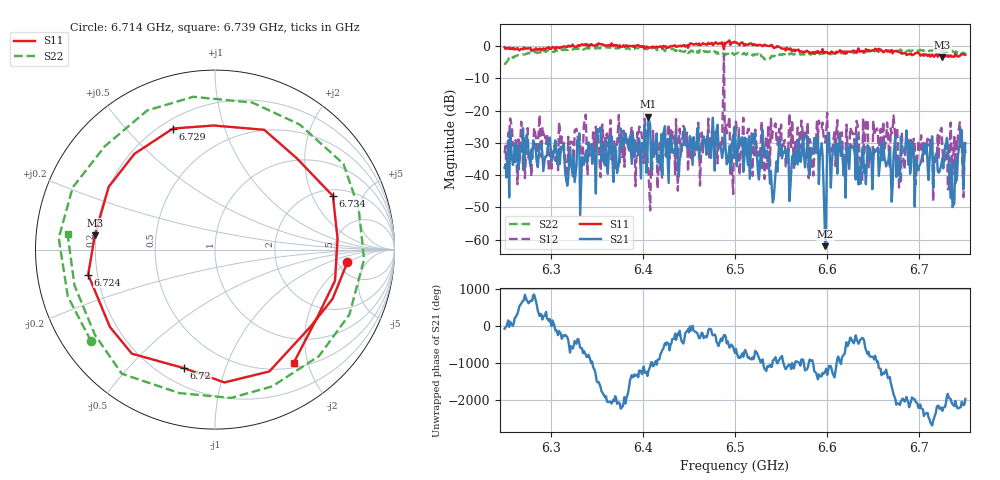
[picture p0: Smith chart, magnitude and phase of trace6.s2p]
# Hz S RI R 50
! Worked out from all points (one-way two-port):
!   401 points, 6.25 GHz to 6.75 GHz, reference 50 ohm
!   highest |S21| = -21.88 dB at 6.406 GHz (marker M1); lowest = -62.1 dB at 6.598 GHz (marker M2)
!   lowest |S11| = -3.4 dB at 6.725 GHz (marker M3), VSWR 5.14, Z = 9.76 + j2.83 ohm
!   |S11| at or under -10 dB: nowhere
!   |S22| runs from -5.8 to 0.0 dB; largest |S21 - S12| = 0.75
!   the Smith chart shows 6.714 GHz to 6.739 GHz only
!   S11 on the Smith chart (normalised r, x): 6.714 GHz: 6.13, -1.89; 6.72 GHz: 0.29, -0.73; 6.724 GHz: 0.16, -0.09; 6.729 GHz: 0.25, +0.68; 6.734 GHz: 2.32, +2.89; 6.739 GHz: 0.57, -1.77
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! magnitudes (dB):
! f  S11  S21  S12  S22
! 6.25 GHz  -0.4  -37.7  -33.1  -5.8
! 6.334 GHz  0.6  -34.5  -36.1  -0.7
! 6.406 GHz  -0.5  -21.9  -38.2  -0.2
! 6.418 GHz  -0.1  -34.9  -30.2  -0.9
! 6.484 GHz  1.0  -31.4  -29.3  -1.9
! 6.49 GHz  0.8  -32.8  -24.1  -2.3
! 6.5 GHz  1.2  -24.9  -33.3  -2.5
! 6.532 GHz  0.5  -31.8  -41.2  -4.1
! 6.54 GHz  0.4  -44.5  -29.4  -3.0
! 6.55 GHz  -0.6  -30.6  -24.3  -2.7
! 6.584 GHz  -2.1  -31.9  -37.8  -2.3
! 6.598 GHz  -1.8  -62.1  -29.9  -2.2
! 6.602 GHz  -2.4  -26.9  -32.7  -2.2
! 6.668 GHz  -1.8  -31.9  -38.0  -1.4
! 6.714 GHz  -2.6  -28.0  -28.7  -1.3
! 6.72 GHz  -3.3  -38.8  -27.2  -1.3
! 6.724 GHz  -2.9  -36.5  -25.3  -1.5
! 6.725 GHz  -3.4  -34.8  -31.0  -1.3
! 6.729 GHz  -2.9  -30.3  -34.5  -1.6
! 6.734 GHz  -2.8  -47.2  -23.7  -1.7
! 6.739 GHz  -2.3  -35.2  -42.7  -1.7
! 6.75 GHz  -2.6  -32.9  -29.7  -2.0
